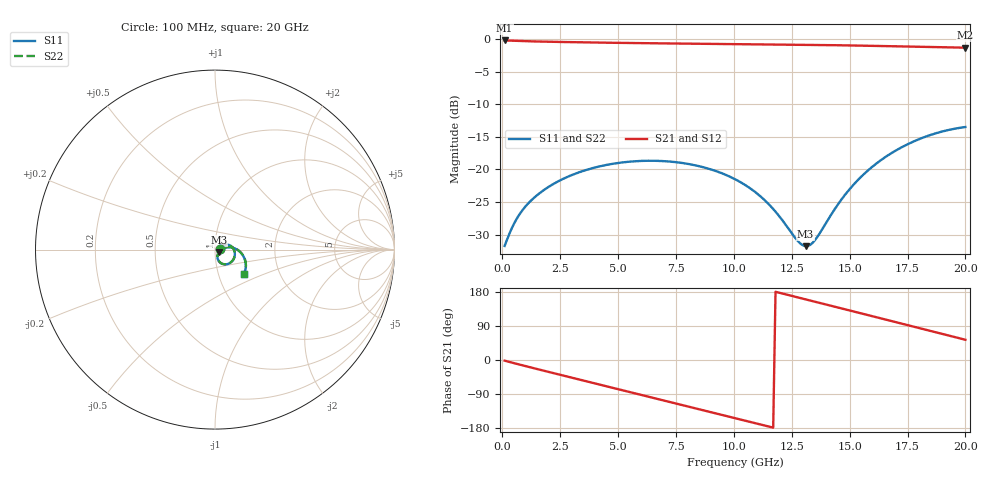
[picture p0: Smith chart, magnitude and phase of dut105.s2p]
! Touchstone file exported from HFSS 2026.1.0
!  File:  C:/ffzhzh/LocalFiles/Ansys_Project_Files/temp_train_TSV_RDL_105_1783045049_45820.aedt
!  Generated:  10:25:37 AM Jul  3, 2026
!  Design:  TSV_RDL
!  Project:  temp_train_TSV_RDL_105_1783045049_45820
! Variables:
!  h_bsmrdl = 5.81um
!  h_ox = 20um
!  h_rdl = 5um
!  h_sub = 52.92um
!  h_tmrdl = 2.02um
!  h_tsv = 52.92um
!  h_via = 3um
!  l_bsmrdl = 884.13um
!  l_sub = 4860.47um
!  l_tmrdl = 423.61um
!  m_sub = 200um
!  pitch = 26.74um
!  r_tsv = 12.25um
!  s_tmrdl = 10um
!  w_bsmrdl = 13.48um
!  w_sub = 500um
!  w_tmrdl = 24.4um
!  x_tsv_center1 = 435.81um
!  x_tsv_center2 = 1333.42um
!  x_tsv_center3 = 1781.43um
!  x_tsv_center4 = 2679.04um
!  x_tsv_center5 = 3127.05um
!  x_tsv_center6 = 4024.66um
# GHz S MA R 50.000000
! Terminal data exported
! Port[1] = TM_RDL1_1_T1
! Port[2] = TM_RDL5_1_T1
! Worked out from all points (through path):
!   200 points, 100 MHz to 20 GHz, reference 50 ohm
!   highest |S21| = -0.22 dB at 100 MHz (marker M1); lowest = -1.3 dB at 20 GHz (marker M2)
!   group delay of S21, straight-line fit = 42.4 ps
!   lowest |S11| = -31.8 dB at 13.1 GHz (marker M3), VSWR 1.05, Z = 52.1 - j1.52 ohm
!   |S11| at or under -10 dB: start of sweep to end of sweep
!   |S22| runs from -31.8 to -13.5 dB; largest |S21 - S12| = 3.5e-14
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0.1  0.02588 11.1  0.9747 -1.7  0.9747 -1.7  0.02588 11.1
! Gamma 0 0 0 0
! Port Impedance 50 0 50 0
0.6  0.0411 28.4  0.9673 -9.8  0.9673 -9.8  0.0411 28.5
1.3  0.05899 27.6  0.9591 -20.7  0.9591 -20.7  0.05897 27.6
2.4  0.08069 19.0  0.95 -37.5  0.95 -37.5  0.08064 19.0
3.5  0.0974 7.6  0.9427 -54.2  0.9427 -54.2  0.09732 7.7
4.4  0.1073 -2.6  0.9374 -67.9  0.9374 -67.9  0.1072 -2.5
5.2  0.1131 -11.9  0.9333 -80.0  0.9333 -80.0  0.113 -11.7
6  0.1161 -21.3  0.9295 -92.0  0.9295 -92.0  0.116 -21.1
6.8  0.1161 -30.6  0.9261 -104.1  0.9261 -104.1  0.1159 -30.4
8.4  0.1068 -48.8  0.9202 -128.3  0.9202 -128.3  0.1067 -48.5
10.1  0.08319 -66.0  0.9146 -154.1  0.9146 -154.1  0.08316 -65.6
11.6  0.05197 -73.5  0.9093 -177.0  0.9093 -177.0  0.052 -73.1
12.7  0.02908 -55.2  0.9049 166.2  0.9049 166.2  0.02911 -55.0
13.1  0.02575 -34.5  0.9031 160.0  0.9031 160.0  0.02575 -34.4
13.4  0.0273 -17.2  0.9017 155.4  0.9017 155.4  0.02726 -17.1
15.1  0.07392 10.5  0.8922 129.2  0.8922 129.2  0.07379 10.8
15.9  0.1019 5.6  0.8869 116.8  0.8869 116.8  0.1017 5.9
16.7  0.1296 -1.9  0.8811 104.5  0.8811 104.5  0.1295 -1.5
17.5  0.1557 -10.6  0.8751 92.1  0.8751 92.1  0.1556 -10.2
18.3  0.1787 -19.9  0.8691 79.7  0.8691 79.7  0.1786 -19.6
19.1  0.1973 -29.6  0.8635 67.4  0.8635 67.4  0.1972 -29.2
20  0.2113 -40.6  0.858 53.4  0.858 53.4  0.2112 -40.3
